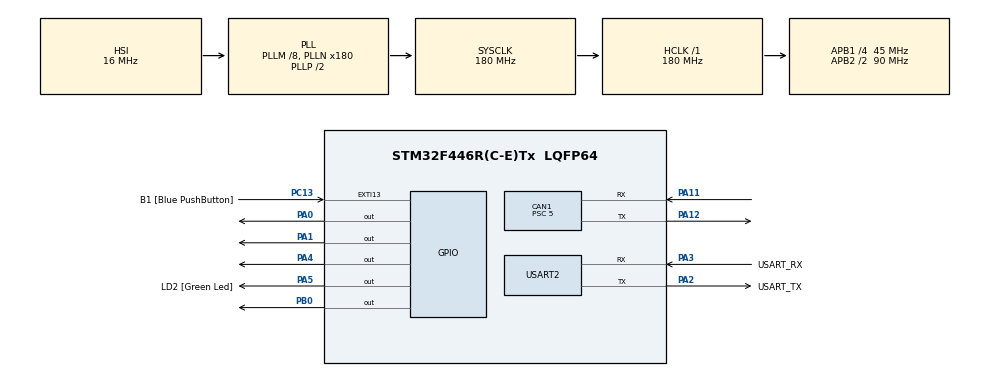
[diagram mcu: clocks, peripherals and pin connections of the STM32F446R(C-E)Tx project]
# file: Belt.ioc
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CAN1.BS1=CAN_BS1_15TQ
CAN1.BS2=CAN_BS2_2TQ
CAN1.CalculateBaudRate=500000
CAN1.CalculateTimeBit=2000
CAN1.CalculateTimeQuantum=111.11111111111111
CAN1.NART=ENABLE
CAN1.Prescaler=5
FREERTOS.Queues01=EventQueue,8,uint8_t,0,Dynamic,NULL,NULL
FREERTOS.Tasks01=defaultTask,24,128,StartDefaultTask,Default,NULL,Dynamic,NULL,NULL;ConveyorTask,8,256,StartTask02,Default,NULL,Dynamic,NULL,NULL;EventTask,8,256,StartTask03,Default,NULL,Dynamic,NULL,NULL;MotorBTask,8,256,StartTask04,Default,NULL,Dynamic,NULL,NULL;MotorCTask,8,256,StartTask05,Default,NULL,Dynamic,NULL,NULL
FREERTOS.Timers01=TrashForwardTimer,TrashForwardTimerCallback,osTimerOnce,Default,NULL,Dynamic,NULL;TrashBackwardTimer,TrashBackwardTimerCallback,osTimerOnce,Default,NULL,Dynamic,NULL;CheckTimer,CheckTimerCallback,osTimerOnce,Default,NULL,Dynamic,NULL
Mcu.Family=STM32F4
Mcu.Name=STM32F446R(C-E)Tx
Mcu.Package=LQFP64
NVIC.CAN1_RX0_IRQn=true\:5\:0\:false\:false\:true\:true\:true\:true\:true
NVIC.PriorityGroup=NVIC_PRIORITYGROUP_4
PA0-WKUP.Signal=GPIO_Output
PA1.Signal=GPIO_Output
PA11.Mode=CAN_Activate
PA11.Signal=CAN1_RX
PA12.Mode=CAN_Activate
PA12.Signal=CAN1_TX
PA13.GPIO_Label=TMS
PA13.Mode=Serial_Wire
PA13.Signal=SYS_JTMS-SWDIO
PA14.GPIO_Label=TCK
PA14.Mode=Serial_Wire
PA14.Signal=SYS_JTCK-SWCLK
PA2.GPIO_Label=USART_TX
PA2.Mode=Asynchronous
PA2.Signal=USART2_TX
PA3.GPIO_Label=USART_RX
PA3.Mode=Asynchronous
PA3.Signal=USART2_RX
PA4.Signal=GPIO_Output
PA5.GPIO_Label=LD2 [Green Led]
PA5.Signal=GPIO_Output
PB0.Signal=GPIO_Output
PB3.GPIO_Label=SWO
PB3.Signal=SYS_JTDO-SWO
PC13.GPIO_Label=B1 [Blue PushButton]
PC13.GPIO_ModeDefaultEXTI=GPIO_MODE_IT_FALLING
PC13.Signal=GPXTI13
PC14-OSC32_IN.Mode=LSE-External-Oscillator
PC14-OSC32_IN.Signal=RCC_OSC32_IN
PC15-OSC32_OUT.Mode=LSE-External-Oscillator
PC15-OSC32_OUT.Signal=RCC_OSC32_OUT
PH0-OSC_IN.Mode=HSE-External-Oscillator
PH0-OSC_IN.Signal=RCC_OSC_IN
PH1-OSC_OUT.Mode=HSE-External-Oscillator
PH1-OSC_OUT.Signal=RCC_OSC_OUT
ProjectManager.HeapSize=0x200
ProjectManager.StackSize=0x400
ProjectManager.TargetToolchain=CMake
RCC.48MHZClocksFreq_Value=84000000
RCC.AHBFreq_Value=180000000
RCC.APB1CLKDivider=RCC_HCLK_DIV4
RCC.APB1Freq_Value=45000000
RCC.APB1TimFreq_Value=90000000
RCC.APB2CLKDivider=RCC_HCLK_DIV2
RCC.APB2Freq_Value=90000000
RCC.APB2TimFreq_Value=180000000
RCC.CortexFreq_Value=180000000
RCC.FLatency-AdvancedSettings=FLASH_LATENCY_5
RCC.HCLKFreq_Value=180000000
RCC.HSE_VALUE=8000000
RCC.HSI_VALUE=16000000
RCC.PLLM=8
RCC.PLLN=180
RCC.SYSCLKFreq_VALUE=180000000
RCC.SYSCLKSource=RCC_SYSCLKSOURCE_PLLCLK
RCC.USBFreq_Value=180000000
RCC.VCOOutputFreq_Value=360000000
USART2.VirtualMode=VM_ASYNC
VP_FREERTOS_VS_CMSIS_V2.Mode=CMSIS_V2
board=NUCLEO-F446RE

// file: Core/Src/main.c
/* USER CODE BEGIN Header */
/**
  ******************************************************************************
  * @file           : main.c
  * @brief          : Main program body
  ******************************************************************************
  * @attention
  *
  * Copyright (c) 2026 STMicroelectronics.
  * All rights reserved.
  *
  * This software is licensed under terms that can be found in the LICENSE file
  * in the root directory of this software component.
  * If no LICENSE file comes with this software, it is provided AS-IS.
  *
  ******************************************************************************
  */
/* USER CODE END Header */
#include "main.h"
#include "cmsis_os.h"
#include "can.h"
#include "usart.h"
#include "gpio.h"

void SystemClock_Config(void);
void MX_FREERTOS_Init(void);

/* USER CODE BEGIN 0 */
void StepMotor_Write(uint8_t in1, uint8_t in2, uint8_t in3, uint8_t in4)
{
  HAL_GPIO_WritePin(GPIOA, GPIO_PIN_0, in1 ? GPIO_PIN_SET : GPIO_PIN_RESET);
  HAL_GPIO_WritePin(GPIOA, GPIO_PIN_1, in2 ? GPIO_PIN_SET : GPIO_PIN_RESET);
  HAL_GPIO_WritePin(GPIOA, GPIO_PIN_4, in3 ? GPIO_PIN_SET : GPIO_PIN_RESET);
  HAL_GPIO_WritePin(GPIOB, GPIO_PIN_0, in4 ? GPIO_PIN_SET : GPIO_PIN_RESET);
}

void StepMotor_Off(void)
{
  StepMotor_Write(0, 0, 0, 0);
}

void StepMotor_Step(uint8_t step)
{
  switch (step)
  {
    case 0:
      StepMotor_Write(1, 0, 0, 0);
      break;

    case 1:
      StepMotor_Write(1, 1, 0, 0);
      break;

    case 2:
      StepMotor_Write(0, 1, 0, 0);
      break;

    case 3:
      StepMotor_Write(0, 1, 1, 0);
      break;

    case 4:
      StepMotor_Write(0, 0, 1, 0);
      break;

    case 5:
      StepMotor_Write(0, 0, 1, 1);
      break;

    case 6:
      StepMotor_Write(0, 0, 0, 1);
      break;

    case 7:
      StepMotor_Write(1, 0, 0, 1);
      break;
  }
}
/* USER CODE END 0 */

int main(void)
{

  /* MCU Configuration--------------------------------------------------------*/

  /* Reset of all peripherals, Initializes the Flash interface and the Systick. */
  HAL_Init();

  /* Configure the system clock */
  SystemClock_Config();

  /* Initialize all configured peripherals */
  MX_GPIO_Init();
  MX_USART2_UART_Init();
  MX_CAN1_Init();

  /* Init scheduler */
  osKernelInitialize();  /* Call init function for freertos objects (in cmsis_os2.c) */
  MX_FREERTOS_Init();

  /* Start scheduler */
  osKernelStart();

  /* We should never get here as control is now taken by the scheduler */

  /* Infinite loop */
  while (1)
  {

  }
}

void SystemClock_Config(void)
{
  RCC_OscInitTypeDef RCC_OscInitStruct = {0};
  RCC_ClkInitTypeDef RCC_ClkInitStruct = {0};

  /** Configure the main internal regulator output voltage
  */
  __HAL_RCC_PWR_CLK_ENABLE();
  __HAL_PWR_VOLTAGESCALING_CONFIG(PWR_REGULATOR_VOLTAGE_SCALE1);

  /** Initializes the RCC Oscillators according to the specified parameters
  * in the RCC_OscInitTypeDef structure.
  */
  RCC_OscInitStruct.OscillatorType = RCC_OSCILLATORTYPE_HSI;
  RCC_OscInitStruct.HSIState = RCC_HSI_ON;
  RCC_OscInitStruct.HSICalibrationValue = RCC_HSICALIBRATION_DEFAULT;
  RCC_OscInitStruct.PLL.PLLState = RCC_PLL_ON;
  RCC_OscInitStruct.PLL.PLLSource = RCC_PLLSOURCE_HSI;
  RCC_OscInitStruct.PLL.PLLM = 8;
  RCC_OscInitStruct.PLL.PLLN = 180;
  RCC_OscInitStruct.PLL.PLLP = RCC_PLLP_DIV2;
  RCC_OscInitStruct.PLL.PLLQ = 2;
  RCC_OscInitStruct.PLL.PLLR = 2;
  if (HAL_RCC_OscConfig(&RCC_OscInitStruct) != HAL_OK)
  {
    Error_Handler();
  }

  /** Activate the Over-Drive mode
  */
  if (HAL_PWREx_EnableOverDrive() != HAL_OK)
  {
    Error_Handler();
  }

  /** Initializes the CPU, AHB and APB buses clocks
  */
  RCC_ClkInitStruct.ClockType = RCC_CLOCKTYPE_HCLK|RCC_CLOCKTYPE_SYSCLK
                              |RCC_CLOCKTYPE_PCLK1|RCC_CLOCKTYPE_PCLK2;
  RCC_ClkInitStruct.SYSCLKSource = RCC_SYSCLKSOURCE_PLLCLK;
  RCC_ClkInitStruct.AHBCLKDivider = RCC_SYSCLK_DIV1;
  RCC_ClkInitStruct.APB1CLKDivider = RCC_HCLK_DIV4;
  RCC_ClkInitStruct.APB2CLKDivider = RCC_HCLK_DIV2;

  if (HAL_RCC_ClockConfig(&RCC_ClkInitStruct, FLASH_LATENCY_5) != HAL_OK)
  {
    Error_Handler();
  }
}

void Error_Handler(void)
{
  __disable_irq();
  while (1)
  {
  }
}

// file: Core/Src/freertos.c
/* USER CODE BEGIN Header */
/**
  ******************************************************************************
  * File Name          : freertos.c
  * Description        : Code for freertos applications
  ******************************************************************************
  * @attention
  *
  * Copyright (c) 2026 STMicroelectronics.
  * All rights reserved.
  *
  * This software is licensed under terms that can be found in the LICENSE file
  * in the root directory of this software component.
  * If no LICENSE file comes with this software, it is provided AS-IS.
  *
  ******************************************************************************
  */
/* USER CODE END Header */

#include "FreeRTOS.h"
#include "task.h"
#include "main.h"
#include "cmsis_os.h"

/* Definitions for defaultTask */
osThreadId_t defaultTaskHandle;
const osThreadAttr_t defaultTask_attributes = {
  .name = "defaultTask",
  .stack_size = 128 * 4,
  .priority = (osPriority_t) osPriorityNormal,
};
/* Definitions for ConveyorTask */
osThreadId_t ConveyorTaskHandle;
const osThreadAttr_t ConveyorTask_attributes = {
  .name = "ConveyorTask",
  .stack_size = 256 * 4,
  .priority = (osPriority_t) osPriorityLow,
};
/* Definitions for EventTask */
osThreadId_t EventTaskHandle;
const osThreadAttr_t EventTask_attributes = {
  .name = "EventTask",
  .stack_size = 256 * 4,
  .priority = (osPriority_t) osPriorityLow,
};
/* Definitions for MotorBTask */
osThreadId_t MotorBTaskHandle;
const osThreadAttr_t MotorBTask_attributes = {
  .name = "MotorBTask",
  .stack_size = 256 * 4,
  .priority = (osPriority_t) osPriorityLow,
};
/* Definitions for MotorCTask */
osThreadId_t MotorCTaskHandle;
const osThreadAttr_t MotorCTask_attributes = {
  .name = "MotorCTask",
  .stack_size = 256 * 4,
  .priority = (osPriority_t) osPriorityLow,
};
/* Definitions for EventQueue */
osMessageQueueId_t EventQueueHandle;
const osMessageQueueAttr_t EventQueue_attributes = {
  .name = "EventQueue"
};
/* Definitions for TrashForwardTimer */
osTimerId_t TrashForwardTimerHandle;
const osTimerAttr_t TrashForwardTimer_attributes = {
  .name = "TrashForwardTimer"
};
/* Definitions for TrashBackwardTimer */
osTimerId_t TrashBackwardTimerHandle;
const osTimerAttr_t TrashBackwardTimer_attributes = {
  .name = "TrashBackwardTimer"
};
/* Definitions for CheckTimer */
osTimerId_t CheckTimerHandle;
const osTimerAttr_t CheckTimer_attributes = {
  .name = "CheckTimer"
};

void StartDefaultTask(void *argument);
void StartTask02(void *argument);
void StartTask03(void *argument);
void StartTask04(void *argument);
void StartTask05(void *argument);
void TrashForwardTimerCallback(void *argument);
void TrashBackwardTimerCallback(void *argument);
void CheckTimerCallback(void *argument);

void MX_FREERTOS_Init(void); /* (MISRA C 2004 rule 8.1) */

void MX_FREERTOS_Init(void) {

  /* Create the timer(s) */
  /* creation of TrashForwardTimer */
  TrashForwardTimerHandle = osTimerNew(TrashForwardTimerCallback, osTimerOnce, NULL, &TrashForwardTimer_attributes);

  /* creation of TrashBackwardTimer */
  TrashBackwardTimerHandle = osTimerNew(TrashBackwardTimerCallback, osTimerOnce, NULL, &TrashBackwardTimer_attributes);

  /* creation of CheckTimer */
  CheckTimerHandle = osTimerNew(CheckTimerCallback, osTimerOnce, NULL, &CheckTimer_attributes);

  /* Create the queue(s) */
  /* creation of EventQueue */
  EventQueueHandle = osMessageQueueNew (8, sizeof(uint8_t), &EventQueue_attributes);

  /* Create the thread(s) */
  /* creation of defaultTask */
  defaultTaskHandle = osThreadNew(StartDefaultTask, NULL, &defaultTask_attributes);

  /* creation of ConveyorTask */
  ConveyorTaskHandle = osThreadNew(StartTask02, NULL, &ConveyorTask_attributes);

  /* creation of EventTask */
  EventTaskHandle = osThreadNew(StartTask03, NULL, &EventTask_attributes);

  /* creation of MotorBTask */
  MotorBTaskHandle = osThreadNew(StartTask04, NULL, &MotorBTask_attributes);

  /* creation of MotorCTask */
  MotorCTaskHandle = osThreadNew(StartTask05, NULL, &MotorCTask_attributes);

}

void StartDefaultTask(void *argument)
{
  for(;;)
  {
    osDelay(1);
  }
}

void StartTask02(void *argument)
{
  for(;;)
  {
    osDelay(1);
  }
}

void StartTask03(void *argument)
{
  for(;;)
  {
    osDelay(1);
  }
}

void StartTask04(void *argument)
{
  for(;;)
  {
    osDelay(1);
  }
}

void StartTask05(void *argument)
{
  for(;;)
  {
    osDelay(1);
  }
}

/* TrashForwardTimerCallback function */
void TrashForwardTimerCallback(void *argument)
{
}

/* TrashBackwardTimerCallback function */
void TrashBackwardTimerCallback(void *argument)
{
}

/* CheckTimerCallback function */
void CheckTimerCallback(void *argument)
{
}
